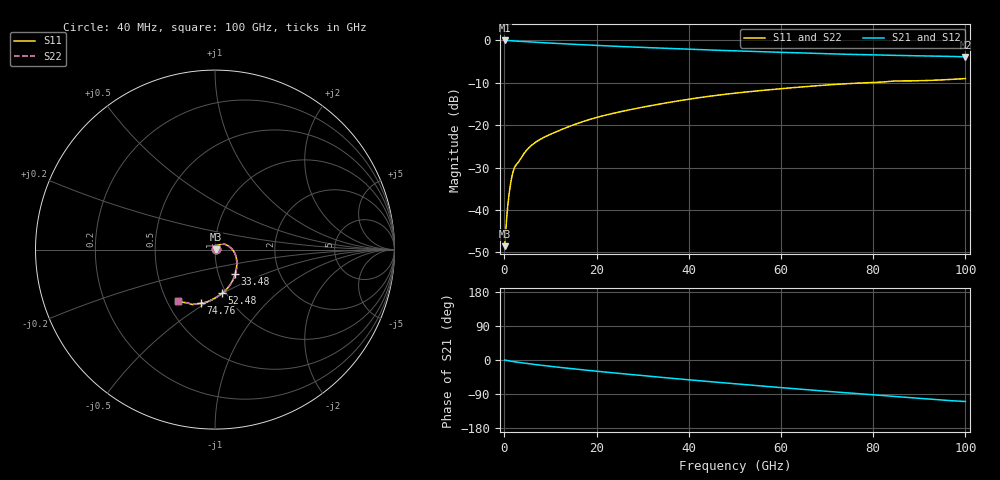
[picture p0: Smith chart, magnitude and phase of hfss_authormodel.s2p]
! Touchstone file exported from HFSS 2022.2.0
!  File:  C:/Users/dkcdn/Downloads/ViaModelMaterials/SimulationModel/HFSS/single_via_freq_dep_12mil_2port.aedt
!  Generated:  12:27:33 PM  Oct 24, 2024
!  Design:  HFSSDesign1
!  Project:  single_via_freq_dep_12mil_2port
!  Setup:  Setup1
!  Solution:  Sweep
! Variables:
!  apad = 4mil
!  bantipad = 10mil
!  dk = 3.5
!  hudie = 15.3mil
!  rvia = 4mil
!  tgnd = 1.3mil
# GHz S MA R 50.000000
! Terminal data exported
! Port[1] = via_T2
! Port[2] = via_T1
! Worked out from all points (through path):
!   2500 points, 40 MHz to 100 GHz, reference 50 ohm
!   highest |S21| = -0.03 dB at 40 MHz (marker M1); lowest = -3.9 dB at 100 GHz (marker M2)
!   group delay of S21, straight-line fit = 2.94 ps
!   lowest |S11| = -48.5 dB at 40 MHz (marker M3), VSWR 1.01, Z = 50.4 + j0.0598 ohm
!   |S11| at or under -10 dB: start of sweep to 78.59 GHz
!   |S22| runs from -48.5 to -9.0 dB; largest |S21 - S12| = 1.2e-14
!   S11 on the Smith chart (normalised r, x): 40 MHz: 1.01, +0.00; 33.48 GHz: 1.20, -0.34; 52.48 GHz: 0.96, -0.50; 74.76 GHz: 0.72, -0.48; 100 GHz: 0.57, -0.38
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0.04  0.003745 9.1  0.9963 -0.1  0.9963 -0.1  0.003745 9.1
! Gamma 0.0793600149879115 1.70702117086768 0.079355791964324 1.70694540999633
! Port Impedance 50 0 50 0
0.32  0.005943 48.1  0.9958 -0.7  0.9958 -0.7  0.005943 48.1
0.88  0.01347 64.7  0.9941 -2.0  0.9941 -2.0  0.01347 64.7
1.32  0.02019 64.1  0.9911 -3.0  0.9911 -3.0  0.02019 64.1
1.6  0.02448 61.2  0.9884 -3.6  0.9884 -3.6  0.02448 61.2
1.88  0.02834 57.3  0.9851 -4.2  0.9851 -4.2  0.02834 57.3
2.56  0.03417 48.3  0.978 -5.3  0.978 -5.3  0.03418 48.3
4.84  0.05092 38.2  0.9628 -9.2  0.9628 -9.2  0.05093 38.2
6.96  0.06396 26.9  0.9473 -12.4  0.9473 -12.4  0.06398 26.9
10.64  0.08093 11.8  0.9234 -17.6  0.9234 -17.6  0.08098 11.8
16.72  0.1088 -8.2  0.8885 -25.6  0.8885 -25.6  0.1089 -8.2
23.4  0.1371 -27.8  0.8534 -33.6  0.8534 -33.6  0.1372 -27.9
33.36  0.1761 -50.1  0.8118 -45.0  0.8118 -45.0  0.1763 -50.1
33.48  0.1766 -50.3  0.8113 -45.1  0.8113 -45.1  0.1768 -50.3
41.12  0.2065 -63.8  0.7812 -53.5  0.7812 -53.5  0.2067 -63.8
50.04  0.2384 -77.3  0.7513 -62.8  0.7513 -62.8  0.2384 -77.3
52.48  0.2462 -80.6  0.744 -65.3  0.744 -65.3  0.2462 -80.5
66.68  0.2885 -96.4  0.7032 -79.5  0.7032 -79.5  0.2883 -96.4
74.76  0.309 -104.4  0.6835 -87.1  0.6835 -87.1  0.3087 -104.4
83.36  0.3268 -111.1  0.6688 -95.0  0.6688 -95.0  0.3265 -111.1
94.32  0.3404 -120.1  0.6509 -105.2  0.6509 -105.2  0.34 -120.1
100  0.3543 -125.4  0.6383 -109.5  0.6383 -109.5  0.3539 -125.4
